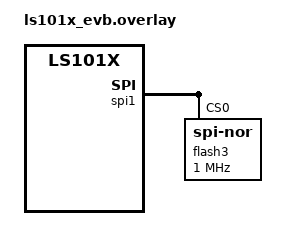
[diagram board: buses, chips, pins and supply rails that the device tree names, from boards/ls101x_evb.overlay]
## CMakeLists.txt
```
# SPDX-License-Identifier: Apache-2.0

cmake_minimum_required(VERSION 3.20.0)
find_package(Zephyr REQUIRED HINTS $ENV{ZEPHYR_BASE})
project(spi_flash_communication)

FILE(GLOB app_sources src/*.c)
target_sources(app PRIVATE ${app_sources})
```

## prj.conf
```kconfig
CONFIG_PRINTK=y
CONFIG_LOG=y
CONFIG_FLASH=y
CONFIG_SPI=y
CONFIG_SPI_NOR=n
CONFIG_SPI_NOR_SFDP_RUNTIME=y
CONFIG_SPI_NOR_MULTI_DEV=y

CONFIG_SPI_EXTENDED_MODES=y
CONFIG_I2C=n
CONFIG_LOG_MODE_DEFERRED=n
CONFIG_LOG_MODE_IMMEDIATE=y
```

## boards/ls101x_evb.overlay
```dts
&spi1 {
    status = "okay";
    flash3: flash3@0 {
        compatible = "jedec,spi-nor";
        reg = <0>;
        spi-max-frequency = <1000000>;
        status = "okay";
        //spi-max-buswidth = <4>; //支持 Quad 模式，spi_nor_multi_dev.c：spi_nor_info_init_params
    };
};
```

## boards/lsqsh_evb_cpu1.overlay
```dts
&spi3 {
    status = "okay";
    flash3: flash3@0 {
        compatible = "jedec,spi-nor";
        reg = <0>;
        spi-max-frequency = <50000000>;
        status = "okay";
        //spi-max-buswidth = <4>; //支持 Quad 模式，spi_nor_multi_dev.c：spi_nor_info_init_params
    };
};
```

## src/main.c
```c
/*
 * Copyright (c) 2017 Linaro Limited
 *
 * SPDX-License-Identifier: Apache-2.0
 */
#include <stdio.h>
#include <zephyr/drivers/flash.h>
#include <zephyr/logging/log.h>
#include <zephyr/device.h>
#include <zephyr/devicetree.h>
#include <zephyr/kernel.h>
#include <stdlib.h>

LOG_MODULE_REGISTER(flash_spi_example, LOG_LEVEL_INF);

#define FLASH_SIZE        0x10000
#define FLASH_OFFSET      0x0000

static uint8_t data_write[] = {0x9f,0x9e,0x9c};  // The data to be written
static uint8_t data_read[3];  //Data for reading

/*
 *@method:Write the data externally to the flash,
 *        and then open the logic analyzer to check
 *        if the SPI pins have responded with the device ID.
*/
void flash_test(const struct device *dev)
{
    int rc;
    size_t len = sizeof(data_write);
	size_t read_len = sizeof(data_read);
    if (!dev) {
        LOG_INF("Flash device not found");
        return;
    }

    // Erase the data in Flash
    rc = flash_erase(dev, FLASH_OFFSET, FLASH_SIZE);  // Erase the specified area
    if (rc != 0) {
        LOG_INF("Flash erase failed: %d", rc);
        return;
    }
    LOG_INF("Flash sector erased");

    // Write data to Flash
    rc = flash_write(dev, FLASH_OFFSET, data_write, len);
    if (rc != 0) {
        LOG_INF("Flash write failed: %d", rc);
        return;
    }
    LOG_INF("Data written to Flash");

    // // Reading data
    rc = flash_read(dev, FLASH_OFFSET, data_read, read_len);
    if (rc != 0) {
        LOG_INF("Flash read failed: %d", rc);
        return;
    }
    LOG_INF("Data read from Flash: ");
    for (int i = 0; i < read_len; i++) {
        LOG_INF("0x%02X ", data_read[i]);
    }
}

void main(void)
{
	LOG_INF("flash3");
    //get external flash
    const struct device *const flash_dev = DEVICE_DT_GET(DT_NODELABEL(flash3));
    printf("Hello World! %s\n", CONFIG_BOARD_TARGET);
    // obtain the ID of the external flash
    uint8_t id[3] = { 0 };
    int rc = 0;

    rc = flash_read_jedec_id(flash_dev, id);
    if (rc == 0) {
        printf("jedec-id = [%02x %02x %02x];\n", id[0], id[1], id[2]);
    } else {
        printf("JEDEC ID read failed: %d\n", rc);
    }

    flash_test(flash_dev);
}
```
